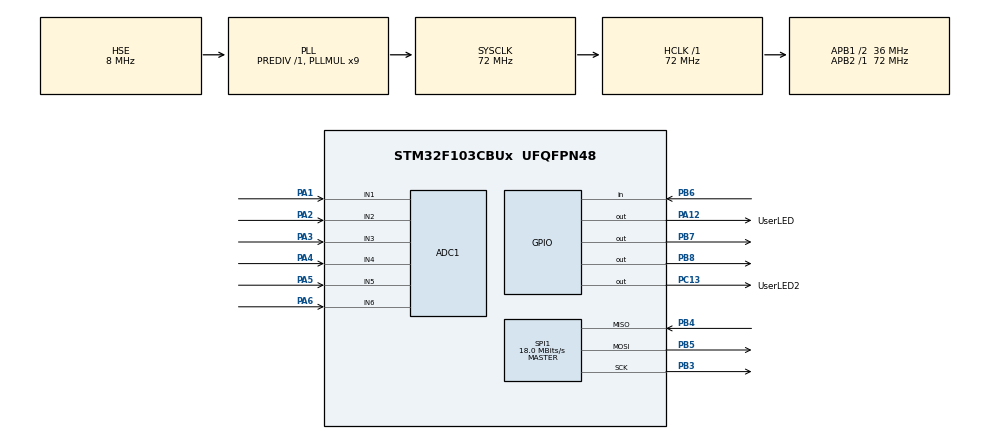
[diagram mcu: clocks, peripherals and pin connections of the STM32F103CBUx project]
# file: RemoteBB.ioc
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ADC1.Channel-0\#ChannelRegularConversion=ADC_CHANNEL_1
ADC1.NbrOfConversionFlag=1
ADC1.Rank-0\#ChannelRegularConversion=1
ADC1.SamplingTime-0\#ChannelRegularConversion=ADC_SAMPLETIME_1CYCLE_5
ADC1.master=1
Mcu.Family=STM32F1
Mcu.Name=STM32F103CBUx
Mcu.Package=UFQFPN48
NVIC.PriorityGroup=NVIC_PRIORITYGROUP_4
PA1.Signal=ADCx_IN1
PA12.GPIO_Label=UserLED
PA12.Signal=GPIO_Output
PA13.Mode=Serial_Wire
PA13.Signal=SYS_JTMS-SWDIO
PA14.Mode=Serial_Wire
PA14.Signal=SYS_JTCK-SWCLK
PA2.Signal=ADCx_IN2
PA3.Signal=ADCx_IN3
PA4.Signal=ADCx_IN4
PA5.Signal=ADCx_IN5
PA6.Signal=ADCx_IN6
PB3.Mode=Full_Duplex_Master
PB3.Signal=SPI1_SCK
PB4.Mode=Full_Duplex_Master
PB4.Signal=SPI1_MISO
PB5.Mode=Full_Duplex_Master
PB5.Signal=SPI1_MOSI
PB6.Signal=GPIO_Input
PB7.Signal=GPIO_Output
PB8.Signal=GPIO_Output
PC13-TAMPER-RTC.GPIO_Label=UserLED2
PC13-TAMPER-RTC.Signal=GPIO_Output
PD0-OSC_IN.Mode=HSE-External-Oscillator
PD0-OSC_IN.Signal=RCC_OSC_IN
PD1-OSC_OUT.Mode=HSE-External-Oscillator
PD1-OSC_OUT.Signal=RCC_OSC_OUT
ProjectManager.HeapSize=0x200
ProjectManager.StackSize=0x400
ProjectManager.TargetToolchain=STM32CubeIDE
RCC.ADCPresc=RCC_ADCPCLK2_DIV6
RCC.AHBFreq_Value=72000000
RCC.APB1CLKDivider=RCC_HCLK_DIV2
RCC.APB1Freq_Value=36000000
RCC.APB1TimFreq_Value=72000000
RCC.APB2Freq_Value=72000000
RCC.APB2TimFreq_Value=72000000
RCC.HCLKFreq_Value=72000000
RCC.PLLMUL=RCC_PLL_MUL9
RCC.PLLSourceVirtual=RCC_PLLSOURCE_HSE
RCC.SYSCLKFreq_VALUE=72000000
RCC.SYSCLKSource=RCC_SYSCLKSOURCE_PLLCLK
RCC.USBFreq_Value=72000000
SH.ADCx_IN1.0=ADC1_IN1,IN1
SH.ADCx_IN2.0=ADC1_IN2,IN2
SH.ADCx_IN3.0=ADC1_IN3,IN3
SH.ADCx_IN4.0=ADC1_IN4,IN4
SH.ADCx_IN5.0=ADC1_IN5,IN5
SH.ADCx_IN6.0=ADC1_IN6,IN6
SPI1.BaudRatePrescaler=SPI_BAUDRATEPRESCALER_4
SPI1.CalculateBaudRate=18.0 MBits/s
SPI1.Direction=SPI_DIRECTION_2LINES
SPI1.Mode=SPI_MODE_MASTER
SPI1.VirtualType=VM_MASTER
board=custom

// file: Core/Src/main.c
/* USER CODE BEGIN Header */
/**
  ******************************************************************************
  * @file           : main.c
  * @brief          : Main program body
  ******************************************************************************
  * @attention
  *
  * Copyright (c) 2022 STMicroelectronics.
  * All rights reserved.
  *
  * This software is licensed under terms that can be found in the LICENSE file
  * in the root directory of this software component.
  * If no LICENSE file comes with this software, it is provided AS-IS.
  *
  ******************************************************************************
  */
/* USER CODE END Header */
#include "main.h"

/* USER CODE BEGIN Includes */
#include "NRF24l01.h"
#define TX_MODE
//#define RX_MODE
/* USER CODE END Includes */

ADC_HandleTypeDef hadc1;

SPI_HandleTypeDef hspi1;

/* USER CODE BEGIN PV */

double  voltages[7] = {0};
uint8_t msg[11] = {0};
uint8_t tmp_buf[11];

/* USER CODE END PV */

void SystemClock_Config(void);
static void MX_GPIO_Init(void);
static void MX_ADC1_Init(void);
static void MX_SPI1_Init(void);

/* USER CODE BEGIN 0 */
uint16_t getADCValue(uint32_t channel)
{
	 ADC_ChannelConfTypeDef ADC_ChanConf;

	 ADC_ChanConf.Channel      = channel;                      //通道
	 ADC_ChanConf.Rank         = ADC_REGULAR_RANK_1;           //�?1个序列，序列1
	 ADC_ChanConf.SamplingTime = ADC_SAMPLETIME_1CYCLE_5;      //采样时间
	 if (HAL_ADC_ConfigChannel(&hadc1, &ADC_ChanConf) != HAL_OK)
	 {
	    Error_Handler();
	 }
	 HAL_ADC_Start(&hadc1);                                 //�?启ADC
	 HAL_ADC_PollForConversion(&hadc1,10);                  //轮询转换
	 return (uint16_t)HAL_ADC_GetValue(&hadc1);	        	//返回�?近一次ADC1规则组的转换结果
}

uint16_t Get_Adc_Average(uint32_t channel, uint8_t times)
{
	uint32_t temp_val = 0;
	uint8_t t;
	for(t = 0; t < times; t++)
	{
		temp_val += getADCValue(channel);
		HAL_Delay(5);
	}
	return temp_val / times;
}

float v_ad    = 0.7; 		 //二极管压�?
float k1      = 0.0048340;   // (20 + x)/6206.06
float k2      = 0.0032538;   // (20 + x)/6206.06
float k3      = 0.0145020;   // (20 + x)/6206.06
float k4      = 0.0193359;   // (20 + x)/6206.06
float k5      = 0.0225586;   // (20 + x)/6206.06
float k6      = 0.0273926;   // (20 + x)/6206.06

void pubMessage()
{
	uint8_t cells     = 6;
	double  total_vol = 0.0;
	msg[0] = 0x07;
	msg[1] = 0x09;
	voltages[0] = Get_Adc_Average(ADC_CHANNEL_1, 20);
	voltages[1] = Get_Adc_Average(ADC_CHANNEL_2, 20);
	voltages[2] = Get_Adc_Average(ADC_CHANNEL_3, 20);
	voltages[3] = Get_Adc_Average(ADC_CHANNEL_4, 20);
	voltages[4] = Get_Adc_Average(ADC_CHANNEL_5, 20);
	voltages[5] = Get_Adc_Average(ADC_CHANNEL_6, 20);

	voltages[0] = voltages[0] * k1 + v_ad;
	voltages[1] = voltages[1] * k2 + v_ad;
	voltages[2] = voltages[2] * k3 + v_ad;
	voltages[3] = voltages[3] * k4 + v_ad;
	voltages[4] = voltages[4] * k5 + v_ad;
	voltages[5] = voltages[5] * k6 + v_ad;

	if(voltages[5] < 3.0){ cells = 5;}
	if(voltages[4] < 3.0){ cells = 4;}
	if(voltages[3] < 3.0){ cells = 3;}
	if(voltages[2] < 3.0){ cells = 2;}
	if(voltages[1] < 3.0){ cells = 1;}

	for( uint8_t i = 0 ; i < cells ; i++){
		total_vol += voltages[i];
	}

	msg[2] = cells;
	msg[3] = (uint8_t)( (voltages[0] - 3.0) * 100 );
	msg[4] = (uint8_t)( (voltages[1] - 3.0) * 100 ) - msg[3];
	msg[5] = (uint8_t)( (voltages[2] - 3.0) * 100 ) - msg[4];
	msg[6] = (uint8_t)( (voltages[3] - 3.0) * 100 ) - msg[5];
	msg[7] = (uint8_t)( (voltages[4] - 3.0) * 100 ) - msg[6];
	msg[8] = (uint8_t)( (voltages[5] - 3.0) * 100 ) - msg[7];

	total_vol *= 100;
	msg[9]  = (uint8_t)(total_vol / 255);
	msg[10] = (uint8_t)(total_vol) % 255;

	msg[2] = 3;
	msg[3] = (uint8_t)( (3.2 - 3.0) * 100 );
	msg[4] = (uint8_t)( (3.4 - 3.0) * 100 ) - msg[3];
	msg[5] = (uint8_t)( (3.6 - 3.0) * 100 ) - msg[4];

	if(NRF24L01_TxPacket(msg) != TX_OK){
		NRF24L01_TxPacket(msg); //发两�?
	}
}

/* USER CODE END 0 */

int main(void)
{

  /* MCU Configuration--------------------------------------------------------*/

  /* Reset of all peripherals, Initializes the Flash interface and the Systick. */
  HAL_Init();

  /* USER CODE BEGIN Init */

  void blink2()
  {
	  int t = 3;
	   while( t-- ){
	  	  HAL_GPIO_WritePin(UserLED2_GPIO_Port, UserLED2_Pin, GPIO_PIN_RESET);
//	  	  HAL_GPIO_WritePin(UserLED_GPIO_Port, UserLED_Pin, GPIO_PIN_RESET);
	  	  PAout(12) = 0;
	  	  HAL_Delay(100);
	  	  HAL_GPIO_WritePin(UserLED2_GPIO_Port, UserLED2_Pin, GPIO_PIN_SET);
//	  	  HAL_GPIO_WritePin(UserLED_GPIO_Port, UserLED_Pin, GPIO_PIN_SET);
	  	  PAout(12) = 1;
	  	  HAL_Delay(100);
	   }
  }

  void blink_fast()
  {
	  int t = 8;
	   while( t-- ){
	  	  HAL_GPIO_WritePin(UserLED2_GPIO_Port, UserLED2_Pin, GPIO_PIN_RESET);
//	  	  HAL_GPIO_WritePin(UserLED_GPIO_Port, UserLED_Pin, GPIO_PIN_RESET);
	  	  PAout(12) = 0;
	  	  HAL_Delay(40);
	  	  HAL_GPIO_WritePin(UserLED2_GPIO_Port, UserLED2_Pin, GPIO_PIN_SET);
//	  	  HAL_GPIO_WritePin(UserLED_GPIO_Port, UserLED_Pin, GPIO_PIN_SET);
	  	  PAout(12) = 1;
	  	  HAL_Delay(40);
	   }
  }

  /* USER CODE END Init */

  /* Configure the system clock */
  SystemClock_Config();

  /* Initialize all configured peripherals */
  MX_GPIO_Init();
  MX_ADC1_Init();
  MX_SPI1_Init();
  /* USER CODE BEGIN 2 */
  NRF24L01_Init(&hspi1);

  blink2();
  HAL_Delay(1000);

  while(NRF24L01_Check())
  {
	  blink2();
//	  HAL_GPIO_WritePin(GPIOB, GPIO_PIN_7, GPIO_PIN_RESET);
//	  HAL_Delay(100);
//	  HAL_GPIO_WritePin(GPIOB, GPIO_PIN_7, GPIO_PIN_SET);
//	  HAL_Delay(100);
  }

  HAL_Delay(200);
  blink2();
#ifdef TX_MODE
  NRF24L01_TX_Mode();
#endif

#ifdef RX_MODE
  NRF24L01_RX_Mode();
#endif
  /* USER CODE END 2 */

  /* Infinite loop */
  while (1)
  {
#ifdef TX_MODE
	pubMessage();
	HAL_Delay(1000);
	PAout(12) = 0;
	HAL_Delay(80);
	PAout(12) = 1;
	HAL_Delay(80);
#endif
#ifdef RX_MODE
	if(NRF24L01_RxPacket(tmp_buf) == 0)//一旦接收到信息,则显示出来.
	{
		tmp_buf[10] = 0;//加入字符串结束符
		blink_fast();
	}
#endif
  }
}

void SystemClock_Config(void)
{
  RCC_OscInitTypeDef RCC_OscInitStruct = {0};
  RCC_ClkInitTypeDef RCC_ClkInitStruct = {0};
  RCC_PeriphCLKInitTypeDef PeriphClkInit = {0};

  /** Initializes the RCC Oscillators according to the specified parameters
  * in the RCC_OscInitTypeDef structure.
  */
  RCC_OscInitStruct.OscillatorType = RCC_OSCILLATORTYPE_HSE;
  RCC_OscInitStruct.HSEState = RCC_HSE_ON;
  RCC_OscInitStruct.HSEPredivValue = RCC_HSE_PREDIV_DIV1;
  RCC_OscInitStruct.HSIState = RCC_HSI_ON;
  RCC_OscInitStruct.PLL.PLLState = RCC_PLL_ON;
  RCC_OscInitStruct.PLL.PLLSource = RCC_PLLSOURCE_HSE;
  RCC_OscInitStruct.PLL.PLLMUL = RCC_PLL_MUL9;
  if (HAL_RCC_OscConfig(&RCC_OscInitStruct) != HAL_OK)
  {
    Error_Handler();
  }

  /** Initializes the CPU, AHB and APB buses clocks
  */
  RCC_ClkInitStruct.ClockType = RCC_CLOCKTYPE_HCLK|RCC_CLOCKTYPE_SYSCLK
                              |RCC_CLOCKTYPE_PCLK1|RCC_CLOCKTYPE_PCLK2;
  RCC_ClkInitStruct.SYSCLKSource = RCC_SYSCLKSOURCE_PLLCLK;
  RCC_ClkInitStruct.AHBCLKDivider = RCC_SYSCLK_DIV1;
  RCC_ClkInitStruct.APB1CLKDivider = RCC_HCLK_DIV2;
  RCC_ClkInitStruct.APB2CLKDivider = RCC_HCLK_DIV1;

  if (HAL_RCC_ClockConfig(&RCC_ClkInitStruct, FLASH_LATENCY_2) != HAL_OK)
  {
    Error_Handler();
  }
  PeriphClkInit.PeriphClockSelection = RCC_PERIPHCLK_ADC;
  PeriphClkInit.AdcClockSelection = RCC_ADCPCLK2_DIV6;
  if (HAL_RCCEx_PeriphCLKConfig(&PeriphClkInit) != HAL_OK)
  {
    Error_Handler();
  }
}

static void MX_ADC1_Init(void)
{

  ADC_ChannelConfTypeDef sConfig = {0};

  /** Common config
  */
  hadc1.Instance = ADC1;
  hadc1.Init.ScanConvMode = ADC_SCAN_DISABLE;
  hadc1.Init.ContinuousConvMode = DISABLE;
  hadc1.Init.DiscontinuousConvMode = DISABLE;
  hadc1.Init.ExternalTrigConv = ADC_SOFTWARE_START;
  hadc1.Init.DataAlign = ADC_DATAALIGN_RIGHT;
  hadc1.Init.NbrOfConversion = 1;
  if (HAL_ADC_Init(&hadc1) != HAL_OK)
  {
    Error_Handler();
  }

  /** Configure Regular Channel
  */
  sConfig.Channel = ADC_CHANNEL_1;
  sConfig.Rank = ADC_REGULAR_RANK_1;
  sConfig.SamplingTime = ADC_SAMPLETIME_1CYCLE_5;
  if (HAL_ADC_ConfigChannel(&hadc1, &sConfig) != HAL_OK)
  {
    Error_Handler();
  }

}

static void MX_SPI1_Init(void)
{

  /* SPI1 parameter configuration*/
  hspi1.Instance = SPI1;
  hspi1.Init.Mode = SPI_MODE_MASTER;
  hspi1.Init.Direction = SPI_DIRECTION_2LINES;
  hspi1.Init.DataSize = SPI_DATASIZE_8BIT;
  hspi1.Init.CLKPolarity = SPI_POLARITY_LOW;
  hspi1.Init.CLKPhase = SPI_PHASE_1EDGE;
  hspi1.Init.NSS = SPI_NSS_SOFT;
  hspi1.Init.BaudRatePrescaler = SPI_BAUDRATEPRESCALER_4;
  hspi1.Init.FirstBit = SPI_FIRSTBIT_MSB;
  hspi1.Init.TIMode = SPI_TIMODE_DISABLE;
  hspi1.Init.CRCCalculation = SPI_CRCCALCULATION_DISABLE;
  hspi1.Init.CRCPolynomial = 10;
  if (HAL_SPI_Init(&hspi1) != HAL_OK)
  {
    Error_Handler();
  }
  /* USER CODE BEGIN SPI1_Init 2 */
  __HAL_SPI_ENABLE(&hspi1);

  /* USER CODE END SPI1_Init 2 */

}

static void MX_GPIO_Init(void)
{
  GPIO_InitTypeDef GPIO_InitStruct = {0};

  /* GPIO Ports Clock Enable */
  __HAL_RCC_GPIOC_CLK_ENABLE();
  __HAL_RCC_GPIOD_CLK_ENABLE();
  __HAL_RCC_GPIOA_CLK_ENABLE();
  __HAL_RCC_GPIOB_CLK_ENABLE();

  /*Configure GPIO pin Output Level */
  HAL_GPIO_WritePin(UserLED2_GPIO_Port, UserLED2_Pin, GPIO_PIN_RESET);

  /*Configure GPIO pin Output Level */
  HAL_GPIO_WritePin(UserLED_GPIO_Port, UserLED_Pin, GPIO_PIN_RESET);

  /*Configure GPIO pin Output Level */
  HAL_GPIO_WritePin(GPIOB, GPIO_PIN_7|GPIO_PIN_8, GPIO_PIN_RESET);

  /*Configure GPIO pin : UserLED2_Pin */
  GPIO_InitStruct.Pin = UserLED2_Pin;
  GPIO_InitStruct.Mode = GPIO_MODE_OUTPUT_PP;
  GPIO_InitStruct.Pull = GPIO_NOPULL;
  GPIO_InitStruct.Speed = GPIO_SPEED_FREQ_LOW;
  HAL_GPIO_Init(UserLED2_GPIO_Port, &GPIO_InitStruct);

  /*Configure GPIO pin : UserLED_Pin */
  GPIO_InitStruct.Pin = UserLED_Pin;
  GPIO_InitStruct.Mode = GPIO_MODE_OUTPUT_PP;
  GPIO_InitStruct.Pull = GPIO_NOPULL;
  GPIO_InitStruct.Speed = GPIO_SPEED_FREQ_LOW;
  HAL_GPIO_Init(UserLED_GPIO_Port, &GPIO_InitStruct);

  /*Configure GPIO pin : PB6 */
  GPIO_InitStruct.Pin = GPIO_PIN_6;
  GPIO_InitStruct.Mode = GPIO_MODE_INPUT;
  GPIO_InitStruct.Pull = GPIO_NOPULL;
  HAL_GPIO_Init(GPIOB, &GPIO_InitStruct);

  /*Configure GPIO pins : PB7 PB8 */
  GPIO_InitStruct.Pin = GPIO_PIN_7|GPIO_PIN_8;
  GPIO_InitStruct.Mode = GPIO_MODE_OUTPUT_PP;
  GPIO_InitStruct.Pull = GPIO_NOPULL;
  GPIO_InitStruct.Speed = GPIO_SPEED_FREQ_LOW;
  HAL_GPIO_Init(GPIOB, &GPIO_InitStruct);

}

void Error_Handler(void)
{
  /* USER CODE BEGIN Error_Handler_Debug */
  /* User can add his own implementation to report the HAL error return state */
  __disable_irq();
  while (1)
  {
	  blink_fast();
  }
  /* USER CODE END Error_Handler_Debug */
}
